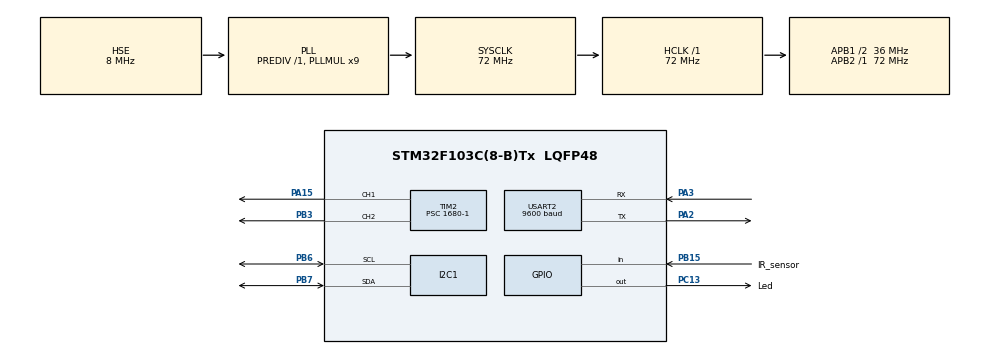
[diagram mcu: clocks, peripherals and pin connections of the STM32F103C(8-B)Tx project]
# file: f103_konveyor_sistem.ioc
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Mcu.Family=STM32F1
Mcu.Name=STM32F103C(8-B)Tx
Mcu.Package=LQFP48
NVIC.PriorityGroup=NVIC_PRIORITYGROUP_4
NVIC.TIM2_IRQn=true\:0\:0\:false\:false\:true\:true\:true\:true
NVIC.USART2_IRQn=true\:0\:0\:false\:false\:true\:true\:true\:true
PA13.Mode=Serial_Wire
PA13.Signal=SYS_JTMS-SWDIO
PA14.Mode=Serial_Wire
PA14.Signal=SYS_JTCK-SWCLK
PA15.Signal=S_TIM2_CH1_ETR
PA2.Mode=Asynchronous
PA2.Signal=USART2_TX
PA3.Mode=Asynchronous
PA3.Signal=USART2_RX
PB15.GPIO_Label=IR_sensor
PB15.Signal=GPIO_Input
PB3.Signal=S_TIM2_CH2
PB6.Mode=I2C
PB6.Signal=I2C1_SCL
PB7.Mode=I2C
PB7.Signal=I2C1_SDA
PC13-TAMPER-RTC.GPIO_Label=Led
PC13-TAMPER-RTC.Signal=GPIO_Output
PD0-OSC_IN.Mode=HSE-External-Oscillator
PD0-OSC_IN.Signal=RCC_OSC_IN
PD1-OSC_OUT.Mode=HSE-External-Oscillator
PD1-OSC_OUT.Signal=RCC_OSC_OUT
ProjectManager.HeapSize=0x200
ProjectManager.StackSize=0x400
ProjectManager.TargetToolchain=STM32CubeIDE
RCC.AHBFreq_Value=72000000
RCC.APB1CLKDivider=RCC_HCLK_DIV2
RCC.APB1Freq_Value=36000000
RCC.APB1TimFreq_Value=72000000
RCC.APB2Freq_Value=72000000
RCC.APB2TimFreq_Value=72000000
RCC.HCLKFreq_Value=72000000
RCC.PLLMUL=RCC_PLL_MUL9
RCC.PLLSourceVirtual=RCC_PLLSOURCE_HSE
RCC.SYSCLKFreq_VALUE=72000000
RCC.SYSCLKSource=RCC_SYSCLKSOURCE_PLLCLK
RCC.USBFreq_Value=72000000
SH.S_TIM2_CH1_ETR.0=TIM2_CH1,PWM Generation1 CH1
SH.S_TIM2_CH2.0=TIM2_CH2,PWM Generation2 CH2
TIM2.Channel-PWM\ Generation1\ CH1=TIM_CHANNEL_1
TIM2.Channel-PWM\ Generation2\ CH2=TIM_CHANNEL_2
TIM2.Period=1000-1
TIM2.Prescaler=1680-1
USART2.BaudRate=9600
USART2.VirtualMode=VM_ASYNC
VP_TIM2_VS_ClockSourceINT.Mode=Internal
board=custom

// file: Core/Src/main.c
/* USER CODE BEGIN Header */
/**
  ******************************************************************************
  * @file           : main.c
  * @brief          : Main program body
  ******************************************************************************
  * @attention
  *
  * Copyright (c) 2024 STMicroelectronics.
  * All rights reserved.
  *
  * This software is licensed under terms that can be found in the LICENSE file
  * in the root directory of this software component.
  * If no LICENSE file comes with this software, it is provided AS-IS.
  *
  ******************************************************************************
  */
/* USER CODE END Header */
#include "main.h"

/* USER CODE BEGIN Includes */

#include "stm32f1xx_hal.h"
#include "i2c-lcd.h" // LCD için I2C kütüphanesi

/* USER CODE END Includes */

/* USER CODE BEGIN PTD */

char barkodData[13] ;
HAL_StatusTypeDef deneme;
uint8_t motorDurum = 1; // 1: Motor çalışıyor, 0: Motor durdu

/* USER CODE END PTD */

I2C_HandleTypeDef hi2c1;

TIM_HandleTypeDef htim2;

UART_HandleTypeDef huart2;

void SystemClock_Config(void);
static void MX_GPIO_Init(void);
static void MX_I2C1_Init(void);
static void MX_USART2_UART_Init(void);
static void MX_TIM2_Init(void);

/* USER CODE BEGIN 0 */
void servo_hareket(TIM_HandleTypeDef *htim, uint32_t kanal, uint16_t pozisyon) {
    __HAL_TIM_SET_COMPARE(htim, kanal, pozisyon);
}

void barkod_isle(char *barkodData) {
    lcd_clear();

    if (strncmp(barkodData, "8680188130137", 13) == 0) {
        lcd_put_cur(0, 0);
        lcd_send_string("A SEHRI KARGOSU");
        lcd_put_cur(1, 0);
        lcd_send_string(barkodData);

        HAL_GPIO_WritePin(Led_GPIO_Port, Led_Pin, GPIO_PIN_SET);
        servo_hareket(&htim2, TIM_CHANNEL_2, 40);
    }
    else if (strncmp(barkodData, "8699015750417", 13) == 0) {
        lcd_put_cur(0, 0);
        lcd_send_string("B SEHRI KARGOSU");
        lcd_put_cur(1, 0);
        lcd_send_string(barkodData);

        HAL_GPIO_WritePin(Led_GPIO_Port, Led_Pin, GPIO_PIN_SET);
        servo_hareket(&htim2, TIM_CHANNEL_1, 40);
    }
    else {
        lcd_put_cur(0, 0);
        lcd_send_string("TANIMSIZ BARKOD");
        HAL_GPIO_WritePin(Led_GPIO_Port, Led_Pin, GPIO_PIN_RESET);
    }

    HAL_Delay(4000); // Sonucu göster
    // Servoları resetle
    servo_hareket(&htim2, TIM_CHANNEL_1, 60);
    servo_hareket(&htim2, TIM_CHANNEL_2, 60);
    lcd_clear();
}
/* USER CODE END 0 */

int main(void)
{

  /* MCU Configuration--------------------------------------------------------*/

  /* Reset of all peripherals, Initializes the Flash interface and the Systick. */
  HAL_Init();

  /* Configure the system clock */
  SystemClock_Config();

  /* Initialize all configured peripherals */
  MX_GPIO_Init();
  MX_I2C1_Init();
  MX_USART2_UART_Init();
  MX_TIM2_Init();
  /* USER CODE BEGIN 2 */
  lcd_init();               // LCD'yi başlatır
  lcd_put_cur(0, 0);
  lcd_send_string("Konveyor ");
  lcd_put_cur(1, 0);
  lcd_send_string("Aktif");

  HAL_TIM_PWM_Start(&htim2, TIM_CHANNEL_1);
  HAL_TIM_PWM_Start(&htim2, TIM_CHANNEL_2);

  /* USER CODE END 2 */

  /* Infinite loop */
  /* USER CODE BEGIN WHILE */
  while (1)
  {

      // Motoru çalıştır
      HAL_GPIO_WritePin(Led_GPIO_Port, Led_Pin, GPIO_PIN_SET);

      if (HAL_GPIO_ReadPin(IR_sensor_GPIO_Port, IR_sensor_Pin) == GPIO_PIN_RESET) {
          // Cisim algılandı
          HAL_Delay(600); // 1 saniye bekle

          // Motoru durdur
          HAL_GPIO_WritePin(Led_GPIO_Port, Led_Pin, GPIO_PIN_RESET);

          lcd_clear();
          lcd_put_cur(0, 0);
          lcd_send_string("KONVEYOR DURDU");
          lcd_put_cur(1, 0);
          lcd_send_string("BARKOD OKUNUYOR");

          // Barkod oku
          if (HAL_UART_Receive(&huart2, (uint8_t *)barkodData, sizeof(barkodData), 2000) == HAL_OK) {
              barkod_isle(barkodData);
          }

	      else
	        {
			  lcd_clear();
			  lcd_put_cur(0, 0);  // İlk satır
			  lcd_send_string("BARKOD OKUNMADİ ");
			  HAL_GPIO_WritePin(Led_GPIO_Port, Led_Pin, GPIO_PIN_RESET);
			  HAL_Delay(4000);
			  lcd_clear();

	        }
      }
  }

	    /*
	    // 1. DC motor aktif, konveyör çalışıyor
	  HAL_GPIO_WritePin(Led_GPIO_Port, Led_Pin, GPIO_PIN_SET);

	    // 2. IR sensör kontrolü
	  if (HAL_GPIO_ReadPin(IR_sensor_GPIO_Port, IR_sensor_Pin) == GPIO_PIN_RESET) {
	        // DC motoru durdur
		  HAL_GPIO_WritePin(Led_GPIO_Port, Led_Pin, GPIO_PIN_RESET);

			 // lcd_clear();
		  lcd_put_cur(0, 0);  // İlk satır
		  lcd_send_string("KONVEYOR DURDU ");
		  lcd_put_cur(1, 0);  // 2. satır
		  lcd_send_string("BARKOD OKUNUYOR ");

	        // 3. Barkod okuma
	       HAL_StatusTypeDef deneme = HAL_UART_Receive(&huart2, (uint8_t *)barkodData, sizeof(barkodData), 100);
	        if (deneme == HAL_OK) {
	            // Barkod işleme ve servoları hareket ettirme
	            barkod_isle(barkodData);

	        }
	        else
	        {
			  lcd_clear();
			  lcd_put_cur(0, 0);  // İlk satır
			  lcd_send_string("BARKOD OKUNMADİ ");
			  HAL_GPIO_WritePin(Led_GPIO_Port, Led_Pin, GPIO_PIN_RESET);
			  HAL_Delay(4000);
			  lcd_clear();

	        }

	  }
  	  	  	  */

    /* USER CODE END WHILE */

  }

void SystemClock_Config(void)
{
  RCC_OscInitTypeDef RCC_OscInitStruct = {0};
  RCC_ClkInitTypeDef RCC_ClkInitStruct = {0};

  /** Initializes the RCC Oscillators according to the specified parameters
  * in the RCC_OscInitTypeDef structure.
  */
  RCC_OscInitStruct.OscillatorType = RCC_OSCILLATORTYPE_HSE;
  RCC_OscInitStruct.HSEState = RCC_HSE_ON;
  RCC_OscInitStruct.HSEPredivValue = RCC_HSE_PREDIV_DIV1;
  RCC_OscInitStruct.HSIState = RCC_HSI_ON;
  RCC_OscInitStruct.PLL.PLLState = RCC_PLL_ON;
  RCC_OscInitStruct.PLL.PLLSource = RCC_PLLSOURCE_HSE;
  RCC_OscInitStruct.PLL.PLLMUL = RCC_PLL_MUL9;
  if (HAL_RCC_OscConfig(&RCC_OscInitStruct) != HAL_OK)
  {
    Error_Handler();
  }

  /** Initializes the CPU, AHB and APB buses clocks
  */
  RCC_ClkInitStruct.ClockType = RCC_CLOCKTYPE_HCLK|RCC_CLOCKTYPE_SYSCLK
                              |RCC_CLOCKTYPE_PCLK1|RCC_CLOCKTYPE_PCLK2;
  RCC_ClkInitStruct.SYSCLKSource = RCC_SYSCLKSOURCE_PLLCLK;
  RCC_ClkInitStruct.AHBCLKDivider = RCC_SYSCLK_DIV1;
  RCC_ClkInitStruct.APB1CLKDivider = RCC_HCLK_DIV2;
  RCC_ClkInitStruct.APB2CLKDivider = RCC_HCLK_DIV1;

  if (HAL_RCC_ClockConfig(&RCC_ClkInitStruct, FLASH_LATENCY_2) != HAL_OK)
  {
    Error_Handler();
  }
}

static void MX_I2C1_Init(void)
{

  hi2c1.Instance = I2C1;
  hi2c1.Init.ClockSpeed = 100000;
  hi2c1.Init.DutyCycle = I2C_DUTYCYCLE_2;
  hi2c1.Init.OwnAddress1 = 0;
  hi2c1.Init.AddressingMode = I2C_ADDRESSINGMODE_7BIT;
  hi2c1.Init.DualAddressMode = I2C_DUALADDRESS_DISABLE;
  hi2c1.Init.OwnAddress2 = 0;
  hi2c1.Init.GeneralCallMode = I2C_GENERALCALL_DISABLE;
  hi2c1.Init.NoStretchMode = I2C_NOSTRETCH_DISABLE;
  if (HAL_I2C_Init(&hi2c1) != HAL_OK)
  {
    Error_Handler();
  }

}

static void MX_TIM2_Init(void)
{

  TIM_ClockConfigTypeDef sClockSourceConfig = {0};
  TIM_MasterConfigTypeDef sMasterConfig = {0};
  TIM_OC_InitTypeDef sConfigOC = {0};

  htim2.Instance = TIM2;
  htim2.Init.Prescaler = 1680-1;
  htim2.Init.CounterMode = TIM_COUNTERMODE_UP;
  htim2.Init.Period = 1000-1;
  htim2.Init.ClockDivision = TIM_CLOCKDIVISION_DIV1;
  htim2.Init.AutoReloadPreload = TIM_AUTORELOAD_PRELOAD_DISABLE;
  if (HAL_TIM_Base_Init(&htim2) != HAL_OK)
  {
    Error_Handler();
  }
  sClockSourceConfig.ClockSource = TIM_CLOCKSOURCE_INTERNAL;
  if (HAL_TIM_ConfigClockSource(&htim2, &sClockSourceConfig) != HAL_OK)
  {
    Error_Handler();
  }
  if (HAL_TIM_PWM_Init(&htim2) != HAL_OK)
  {
    Error_Handler();
  }
  sMasterConfig.MasterOutputTrigger = TIM_TRGO_RESET;
  sMasterConfig.MasterSlaveMode = TIM_MASTERSLAVEMODE_DISABLE;
  if (HAL_TIMEx_MasterConfigSynchronization(&htim2, &sMasterConfig) != HAL_OK)
  {
    Error_Handler();
  }
  sConfigOC.OCMode = TIM_OCMODE_PWM1;
  sConfigOC.Pulse = 0;
  sConfigOC.OCPolarity = TIM_OCPOLARITY_HIGH;
  sConfigOC.OCFastMode = TIM_OCFAST_DISABLE;
  if (HAL_TIM_PWM_ConfigChannel(&htim2, &sConfigOC, TIM_CHANNEL_1) != HAL_OK)
  {
    Error_Handler();
  }
  if (HAL_TIM_PWM_ConfigChannel(&htim2, &sConfigOC, TIM_CHANNEL_2) != HAL_OK)
  {
    Error_Handler();
  }
  HAL_TIM_MspPostInit(&htim2);

}

static void MX_USART2_UART_Init(void)
{

  huart2.Instance = USART2;
  huart2.Init.BaudRate = 9600;
  huart2.Init.WordLength = UART_WORDLENGTH_8B;
  huart2.Init.StopBits = UART_STOPBITS_1;
  huart2.Init.Parity = UART_PARITY_NONE;
  huart2.Init.Mode = UART_MODE_TX_RX;
  huart2.Init.HwFlowCtl = UART_HWCONTROL_NONE;
  huart2.Init.OverSampling = UART_OVERSAMPLING_16;
  if (HAL_UART_Init(&huart2) != HAL_OK)
  {
    Error_Handler();
  }

}

static void MX_GPIO_Init(void)
{
  GPIO_InitTypeDef GPIO_InitStruct = {0};

  /* GPIO Ports Clock Enable */
  __HAL_RCC_GPIOC_CLK_ENABLE();
  __HAL_RCC_GPIOD_CLK_ENABLE();
  __HAL_RCC_GPIOA_CLK_ENABLE();
  __HAL_RCC_GPIOB_CLK_ENABLE();

  /*Configure GPIO pin Output Level */
  HAL_GPIO_WritePin(Led_GPIO_Port, Led_Pin, GPIO_PIN_RESET);

  /*Configure GPIO pin : Led_Pin */
  GPIO_InitStruct.Pin = Led_Pin;
  GPIO_InitStruct.Mode = GPIO_MODE_OUTPUT_PP;
  GPIO_InitStruct.Pull = GPIO_NOPULL;
  GPIO_InitStruct.Speed = GPIO_SPEED_FREQ_LOW;
  HAL_GPIO_Init(Led_GPIO_Port, &GPIO_InitStruct);

  /*Configure GPIO pin : IR_sensor_Pin */
  GPIO_InitStruct.Pin = IR_sensor_Pin;
  GPIO_InitStruct.Mode = GPIO_MODE_INPUT;
  GPIO_InitStruct.Pull = GPIO_NOPULL;
  HAL_GPIO_Init(IR_sensor_GPIO_Port, &GPIO_InitStruct);

}

void Error_Handler(void)
{
  __disable_irq();
  while (1)
  {
  }
}
